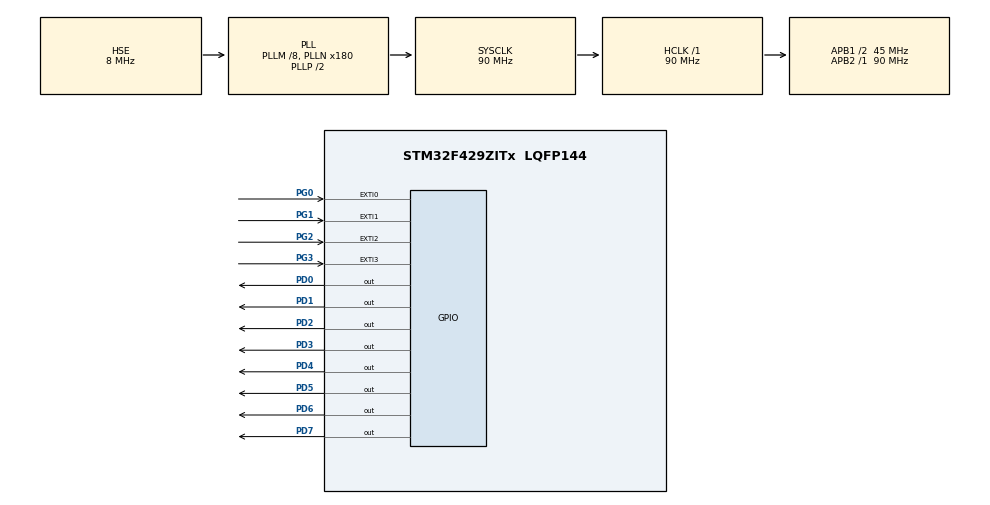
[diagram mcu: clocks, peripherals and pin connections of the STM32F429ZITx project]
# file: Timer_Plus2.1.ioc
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Mcu.Family=STM32F4
Mcu.Name=STM32F429ZITx
Mcu.Package=LQFP144
NVIC.EXTI0_IRQn=true\:0\:0\:false\:false\:true\:true\:true\:true
NVIC.EXTI1_IRQn=true\:0\:0\:false\:false\:true\:true\:true\:true
NVIC.EXTI2_IRQn=true\:0\:0\:false\:false\:true\:true\:true\:true
NVIC.EXTI3_IRQn=true\:0\:0\:false\:false\:true\:true\:true\:true
NVIC.PriorityGroup=NVIC_PRIORITYGROUP_4
NVIC.TIM1_BRK_TIM9_IRQn=true\:0\:0\:false\:false\:true\:true\:true\:true
NVIC.TIM1_CC_IRQn=true\:0\:0\:false\:false\:true\:true\:true\:true
NVIC.TIM1_TRG_COM_TIM11_IRQn=true\:0\:0\:false\:false\:true\:true\:true\:true
NVIC.TIM1_UP_TIM10_IRQn=true\:0\:0\:false\:false\:true\:true\:true\:true
NVIC.TIM4_IRQn=true\:0\:0\:false\:false\:true\:true\:true\:true
PA13.Mode=Serial_Wire
PA13.Signal=SYS_JTMS-SWDIO
PA14.Mode=Serial_Wire
PA14.Signal=SYS_JTCK-SWCLK
PD0.GPIO_ModeDefaultOutputPP=GPIO_MODE_OUTPUT_PP
PD0.GPIO_PuPd=GPIO_PULLUP
PD0.GPIO_Speed=GPIO_SPEED_FREQ_HIGH
PD0.PinState=GPIO_PIN_RESET
PD0.Signal=GPIO_Output
PD1.GPIO_ModeDefaultOutputPP=GPIO_MODE_OUTPUT_PP
PD1.GPIO_PuPd=GPIO_PULLUP
PD1.GPIO_Speed=GPIO_SPEED_FREQ_HIGH
PD1.PinState=GPIO_PIN_RESET
PD1.Signal=GPIO_Output
PD2.GPIO_ModeDefaultOutputPP=GPIO_MODE_OUTPUT_PP
PD2.GPIO_PuPd=GPIO_PULLUP
PD2.GPIO_Speed=GPIO_SPEED_FREQ_HIGH
PD2.PinState=GPIO_PIN_RESET
PD2.Signal=GPIO_Output
PD3.GPIO_ModeDefaultOutputPP=GPIO_MODE_OUTPUT_PP
PD3.GPIO_PuPd=GPIO_PULLUP
PD3.GPIO_Speed=GPIO_SPEED_FREQ_HIGH
PD3.PinState=GPIO_PIN_RESET
PD3.Signal=GPIO_Output
PD4.GPIO_ModeDefaultOutputPP=GPIO_MODE_OUTPUT_PP
PD4.GPIO_PuPd=GPIO_PULLUP
PD4.GPIO_Speed=GPIO_SPEED_FREQ_HIGH
PD4.PinState=GPIO_PIN_RESET
PD4.Signal=GPIO_Output
PD5.GPIO_ModeDefaultOutputPP=GPIO_MODE_OUTPUT_PP
PD5.GPIO_PuPd=GPIO_PULLUP
PD5.GPIO_Speed=GPIO_SPEED_FREQ_HIGH
PD5.PinState=GPIO_PIN_RESET
PD5.Signal=GPIO_Output
PD6.GPIO_ModeDefaultOutputPP=GPIO_MODE_OUTPUT_PP
PD6.GPIO_PuPd=GPIO_PULLUP
PD6.GPIO_Speed=GPIO_SPEED_FREQ_HIGH
PD6.PinState=GPIO_PIN_RESET
PD6.Signal=GPIO_Output
PD7.GPIO_ModeDefaultOutputPP=GPIO_MODE_OUTPUT_PP
PD7.GPIO_PuPd=GPIO_PULLUP
PD7.GPIO_Speed=GPIO_SPEED_FREQ_HIGH
PD7.PinState=GPIO_PIN_RESET
PD7.Signal=GPIO_Output
PG0.GPIO_ModeDefaultEXTI=GPIO_MODE_IT_FALLING
PG0.GPIO_PuPd=GPIO_NOPULL
PG0.Signal=GPXTI0
PG1.GPIO_ModeDefaultEXTI=GPIO_MODE_IT_FALLING
PG1.GPIO_PuPd=GPIO_NOPULL
PG1.Signal=GPXTI1
PG2.GPIO_ModeDefaultEXTI=GPIO_MODE_IT_FALLING
PG2.GPIO_PuPd=GPIO_NOPULL
PG2.Signal=GPXTI2
PG3.GPIO_ModeDefaultEXTI=GPIO_MODE_IT_FALLING
PG3.GPIO_PuPd=GPIO_NOPULL
PG3.Signal=GPXTI3
PH0/OSC_IN.Mode=HSE-External-Clock-Source
PH0/OSC_IN.Signal=RCC_OSC_IN
PH1/OSC_OUT.Mode=HSE-External-Clock-Source
PH1/OSC_OUT.Signal=RCC_OSC_OUT
ProjectManager.HeapSize=0x200
ProjectManager.StackSize=0x400
ProjectManager.TargetToolchain=STM32CubeIDE
RCC.48MHZClocksFreq_Value=45000000
RCC.AHBFreq_Value=90000000
RCC.APB1CLKDivider=RCC_HCLK_DIV2
RCC.APB1Freq_Value=45000000
RCC.APB1TimFreq_Value=90000000
RCC.APB2Freq_Value=90000000
RCC.APB2TimFreq_Value=90000000
RCC.CortexFreq_Value=90000000
RCC.HCLKFreq_Value=90000000
RCC.HSE_VALUE=8000000
RCC.HSI_VALUE=16000000
RCC.LSE_VALUE=32768
RCC.PLLM=8
RCC.PLLN=180
RCC.PLLSourceVirtual=RCC_PLLSOURCE_HSE
RCC.SYSCLKFreq_VALUE=90000000
RCC.SYSCLKSource=RCC_SYSCLKSOURCE_PLLCLK
RCC.VCOOutputFreq_Value=180000000
TIM1.Channel-Output\ Compare1\ No\ Output=TIM_CHANNEL_1
TIM1.Period=4999
TIM1.Prescaler=8999
TIM4.Channel-Output\ Compare1\ No\ Output=TIM_CHANNEL_1
TIM4.Period=9999
TIM4.Prescaler=8999
TIM4.Pulse-Output\ Compare1\ No\ Output=999
VP_TIM1_VS_ClockSourceINT.Mode=Internal
VP_TIM1_VS_no_output1.Mode=Output Compare1 No Output
VP_TIM4_VS_ClockSourceINT.Mode=Internal
VP_TIM4_VS_no_output1.Mode=Output Compare1 No Output
board=custom

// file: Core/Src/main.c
/* USER CODE BEGIN Header */
/**
  ******************************************************************************
  * @file           : main.c
  * @brief          : Main program body
  ******************************************************************************
  * @attention
  *
  * Copyright (c) 2022 STMicroelectronics.
  * All rights reserved.
  *
  * This software is licensed under terms that can be found in the LICENSE file
  * in the root directory of this software component.
  * If no LICENSE file comes with this software, it is provided AS-IS.
  *
  ******************************************************************************
  */
/* USER CODE END Header */
#include "main.h"

TIM_HandleTypeDef htim1;
TIM_HandleTypeDef htim4;

/* USER CODE BEGIN PV */
int flag_SW1 = 0, flag_SW2 = 0;
/* USER CODE END PV */

void SystemClock_Config(void);
static void MX_GPIO_Init(void);
static void MX_TIM4_Init(void);
static void MX_TIM1_Init(void);
/* USER CODE BEGIN PFP */
void LED_OnOff(int, int);
int speed1 = 0;
int speed4 = 0;
/* USER CODE END PFP */

int main(void)
{
  /* USER CODE BEGIN 1 */
	uint16_t led= 0x01;
	uint16_t led1= 0x01;
	//uint16_t led2 = 0x01;
  /* USER CODE END 1 */

  /* MCU Configuration--------------------------------------------------------*/

  /* Reset of all peripherals, Initializes the Flash interface and the Systick. */
  HAL_Init();

  /* Configure the system clock */
  SystemClock_Config();

  /* Initialize all configured peripherals */
  MX_GPIO_Init();
  MX_TIM4_Init();
  MX_TIM1_Init();
  /* USER CODE BEGIN 2 */
  LED_OnOff(LED_ALL, 500);
  HAL_TIM_Base_Start_IT(&htim4);
  HAL_TIM_Base_Start_IT(&htim1);
  //HAL_TIM_OC_Start_IT(&htim4, TIM_CHANNEL_1);
  //HAL_TIM_OC_Start_IT(&htim1, TIM_CHANNEL_1);
  /* USER CODE END 2 */

  /* Infinite loop */
  /* USER CODE BEGIN WHILE */
  while (1)
  {
	  if(flag_SW1 == 1){
		  led<<=1;
		  if(led>0x80) led=0x01;
		  LED_OnOff(led, 500-10*speed1);
	  }
	  else if(flag_SW2 == 1){
		  led1 <<= 1;
		  if(led1>0x80) led1=0x01;
		  LED_OnOff(led1, 500-10*speed4);
	  }
  }
    /* USER CODE END WHILE */

}

void SystemClock_Config(void)
{
  RCC_OscInitTypeDef RCC_OscInitStruct = {0};
  RCC_ClkInitTypeDef RCC_ClkInitStruct = {0};

  /** Configure the main internal regulator output voltage
  */
  __HAL_RCC_PWR_CLK_ENABLE();
  __HAL_PWR_VOLTAGESCALING_CONFIG(PWR_REGULATOR_VOLTAGE_SCALE3);

  /** Initializes the RCC Oscillators according to the specified parameters
  * in the RCC_OscInitTypeDef structure.
  */
  RCC_OscInitStruct.OscillatorType = RCC_OSCILLATORTYPE_HSE;
  RCC_OscInitStruct.HSEState = RCC_HSE_BYPASS;
  RCC_OscInitStruct.PLL.PLLState = RCC_PLL_ON;
  RCC_OscInitStruct.PLL.PLLSource = RCC_PLLSOURCE_HSE;
  RCC_OscInitStruct.PLL.PLLM = 8;
  RCC_OscInitStruct.PLL.PLLN = 180;
  RCC_OscInitStruct.PLL.PLLP = RCC_PLLP_DIV2;
  RCC_OscInitStruct.PLL.PLLQ = 4;
  if (HAL_RCC_OscConfig(&RCC_OscInitStruct) != HAL_OK)
  {
    Error_Handler();
  }

  /** Activate the Over-Drive mode
  */
  if (HAL_PWREx_EnableOverDrive() != HAL_OK)
  {
    Error_Handler();
  }

  /** Initializes the CPU, AHB and APB buses clocks
  */
  RCC_ClkInitStruct.ClockType = RCC_CLOCKTYPE_HCLK|RCC_CLOCKTYPE_SYSCLK
                              |RCC_CLOCKTYPE_PCLK1|RCC_CLOCKTYPE_PCLK2;
  RCC_ClkInitStruct.SYSCLKSource = RCC_SYSCLKSOURCE_PLLCLK;
  RCC_ClkInitStruct.AHBCLKDivider = RCC_SYSCLK_DIV1;
  RCC_ClkInitStruct.APB1CLKDivider = RCC_HCLK_DIV2;
  RCC_ClkInitStruct.APB2CLKDivider = RCC_HCLK_DIV1;

  if (HAL_RCC_ClockConfig(&RCC_ClkInitStruct, FLASH_LATENCY_2) != HAL_OK)
  {
    Error_Handler();
  }
}

static void MX_TIM1_Init(void)
{

  TIM_ClockConfigTypeDef sClockSourceConfig = {0};
  TIM_MasterConfigTypeDef sMasterConfig = {0};
  TIM_OC_InitTypeDef sConfigOC = {0};
  TIM_BreakDeadTimeConfigTypeDef sBreakDeadTimeConfig = {0};

  htim1.Instance = TIM1;
  htim1.Init.Prescaler = 8999;
  htim1.Init.CounterMode = TIM_COUNTERMODE_UP;
  htim1.Init.Period = 4999;
  htim1.Init.ClockDivision = TIM_CLOCKDIVISION_DIV1;
  htim1.Init.RepetitionCounter = 0;
  htim1.Init.AutoReloadPreload = TIM_AUTORELOAD_PRELOAD_DISABLE;
  if (HAL_TIM_Base_Init(&htim1) != HAL_OK)
  {
    Error_Handler();
  }
  sClockSourceConfig.ClockSource = TIM_CLOCKSOURCE_INTERNAL;
  if (HAL_TIM_ConfigClockSource(&htim1, &sClockSourceConfig) != HAL_OK)
  {
    Error_Handler();
  }
  if (HAL_TIM_OC_Init(&htim1) != HAL_OK)
  {
    Error_Handler();
  }
  sMasterConfig.MasterOutputTrigger = TIM_TRGO_RESET;
  sMasterConfig.MasterSlaveMode = TIM_MASTERSLAVEMODE_DISABLE;
  if (HAL_TIMEx_MasterConfigSynchronization(&htim1, &sMasterConfig) != HAL_OK)
  {
    Error_Handler();
  }
  sConfigOC.OCMode = TIM_OCMODE_TIMING;
  sConfigOC.Pulse = 0;
  sConfigOC.OCPolarity = TIM_OCPOLARITY_HIGH;
  sConfigOC.OCNPolarity = TIM_OCNPOLARITY_HIGH;
  sConfigOC.OCFastMode = TIM_OCFAST_DISABLE;
  sConfigOC.OCIdleState = TIM_OCIDLESTATE_RESET;
  sConfigOC.OCNIdleState = TIM_OCNIDLESTATE_RESET;
  if (HAL_TIM_OC_ConfigChannel(&htim1, &sConfigOC, TIM_CHANNEL_1) != HAL_OK)
  {
    Error_Handler();
  }
  sBreakDeadTimeConfig.OffStateRunMode = TIM_OSSR_DISABLE;
  sBreakDeadTimeConfig.OffStateIDLEMode = TIM_OSSI_DISABLE;
  sBreakDeadTimeConfig.LockLevel = TIM_LOCKLEVEL_OFF;
  sBreakDeadTimeConfig.DeadTime = 0;
  sBreakDeadTimeConfig.BreakState = TIM_BREAK_DISABLE;
  sBreakDeadTimeConfig.BreakPolarity = TIM_BREAKPOLARITY_HIGH;
  sBreakDeadTimeConfig.AutomaticOutput = TIM_AUTOMATICOUTPUT_DISABLE;
  if (HAL_TIMEx_ConfigBreakDeadTime(&htim1, &sBreakDeadTimeConfig) != HAL_OK)
  {
    Error_Handler();
  }

}

static void MX_TIM4_Init(void)
{

  TIM_ClockConfigTypeDef sClockSourceConfig = {0};
  TIM_MasterConfigTypeDef sMasterConfig = {0};
  TIM_OC_InitTypeDef sConfigOC = {0};

  htim4.Instance = TIM4;
  htim4.Init.Prescaler = 8999;
  htim4.Init.CounterMode = TIM_COUNTERMODE_UP;
  htim4.Init.Period = 9999;
  htim4.Init.ClockDivision = TIM_CLOCKDIVISION_DIV1;
  htim4.Init.AutoReloadPreload = TIM_AUTORELOAD_PRELOAD_DISABLE;
  if (HAL_TIM_Base_Init(&htim4) != HAL_OK)
  {
    Error_Handler();
  }
  sClockSourceConfig.ClockSource = TIM_CLOCKSOURCE_INTERNAL;
  if (HAL_TIM_ConfigClockSource(&htim4, &sClockSourceConfig) != HAL_OK)
  {
    Error_Handler();
  }
  if (HAL_TIM_OC_Init(&htim4) != HAL_OK)
  {
    Error_Handler();
  }
  sMasterConfig.MasterOutputTrigger = TIM_TRGO_RESET;
  sMasterConfig.MasterSlaveMode = TIM_MASTERSLAVEMODE_DISABLE;
  if (HAL_TIMEx_MasterConfigSynchronization(&htim4, &sMasterConfig) != HAL_OK)
  {
    Error_Handler();
  }
  sConfigOC.OCMode = TIM_OCMODE_TIMING;
  sConfigOC.Pulse = 999;
  sConfigOC.OCPolarity = TIM_OCPOLARITY_HIGH;
  sConfigOC.OCFastMode = TIM_OCFAST_DISABLE;
  if (HAL_TIM_OC_ConfigChannel(&htim4, &sConfigOC, TIM_CHANNEL_1) != HAL_OK)
  {
    Error_Handler();
  }

}

static void MX_GPIO_Init(void)
{
  GPIO_InitTypeDef GPIO_InitStruct = {0};

  /* GPIO Ports Clock Enable */
  __HAL_RCC_GPIOH_CLK_ENABLE();
  __HAL_RCC_GPIOG_CLK_ENABLE();
  __HAL_RCC_GPIOA_CLK_ENABLE();
  __HAL_RCC_GPIOD_CLK_ENABLE();

  /*Configure GPIO pin Output Level */
  HAL_GPIO_WritePin(GPIOD, GPIO_PIN_0|GPIO_PIN_1|GPIO_PIN_2|GPIO_PIN_3
                          |GPIO_PIN_4|GPIO_PIN_5|GPIO_PIN_6|GPIO_PIN_7, GPIO_PIN_RESET);

  /*Configure GPIO pins : PG0 PG1 PG2 PG3 */
  GPIO_InitStruct.Pin = GPIO_PIN_0|GPIO_PIN_1|GPIO_PIN_2|GPIO_PIN_3;
  GPIO_InitStruct.Mode = GPIO_MODE_IT_FALLING;
  GPIO_InitStruct.Pull = GPIO_NOPULL;
  HAL_GPIO_Init(GPIOG, &GPIO_InitStruct);

  /*Configure GPIO pins : PD0 PD1 PD2 PD3
                           PD4 PD5 PD6 PD7 */
  GPIO_InitStruct.Pin = GPIO_PIN_0|GPIO_PIN_1|GPIO_PIN_2|GPIO_PIN_3
                          |GPIO_PIN_4|GPIO_PIN_5|GPIO_PIN_6|GPIO_PIN_7;
  GPIO_InitStruct.Mode = GPIO_MODE_OUTPUT_PP;
  GPIO_InitStruct.Pull = GPIO_PULLUP;
  GPIO_InitStruct.Speed = GPIO_SPEED_FREQ_HIGH;
  HAL_GPIO_Init(GPIOD, &GPIO_InitStruct);

  /* EXTI interrupt init*/
  HAL_NVIC_SetPriority(EXTI0_IRQn, 0, 0);
  HAL_NVIC_EnableIRQ(EXTI0_IRQn);

  HAL_NVIC_SetPriority(EXTI1_IRQn, 0, 0);
  HAL_NVIC_EnableIRQ(EXTI1_IRQn);

  HAL_NVIC_SetPriority(EXTI2_IRQn, 0, 0);
  HAL_NVIC_EnableIRQ(EXTI2_IRQn);

  HAL_NVIC_SetPriority(EXTI3_IRQn, 0, 0);
  HAL_NVIC_EnableIRQ(EXTI3_IRQn);

}

/* USER CODE BEGIN 4 */
void LED_OnOff(int led, int interval){
   HAL_GPIO_WritePin(GPIO_LED, led, GPIO_PIN_SET);
   HAL_GPIO_WritePin(GPIO_LED_Nucleo, led, GPIO_PIN_SET);

   HAL_Delay(interval);

   HAL_GPIO_WritePin(GPIO_LED, led, GPIO_PIN_RESET);
   HAL_GPIO_WritePin(GPIO_LED_Nucleo, led, GPIO_PIN_RESET);
}
//void HAL_TIM_PeriodElapsedCallback(TIM_HandleTypeDef *htim)
//{
//	if (htim -> Instance == TIM4) {
//		speed4 = 1;
//	}
//	if (htim -> Instance == TIM1) {
//		speed1 = 1;
//	}
//}

void HAL_GPIO_EXTI_Callback(uint16_t GPIO_PIN){
   if(GPIO_PIN == SW1){
	   speed1 ++;
      flag_SW1 = 1;
      flag_SW2 = 0;
   }
   else if(GPIO_PIN == SW2){
	   speed4 ++;
      flag_SW1 = 0;
      flag_SW2 = 1;
   }
}
/* USER CODE END 4 */

void Error_Handler(void)
{
  __disable_irq();
  while (1)
  {
  }
}
